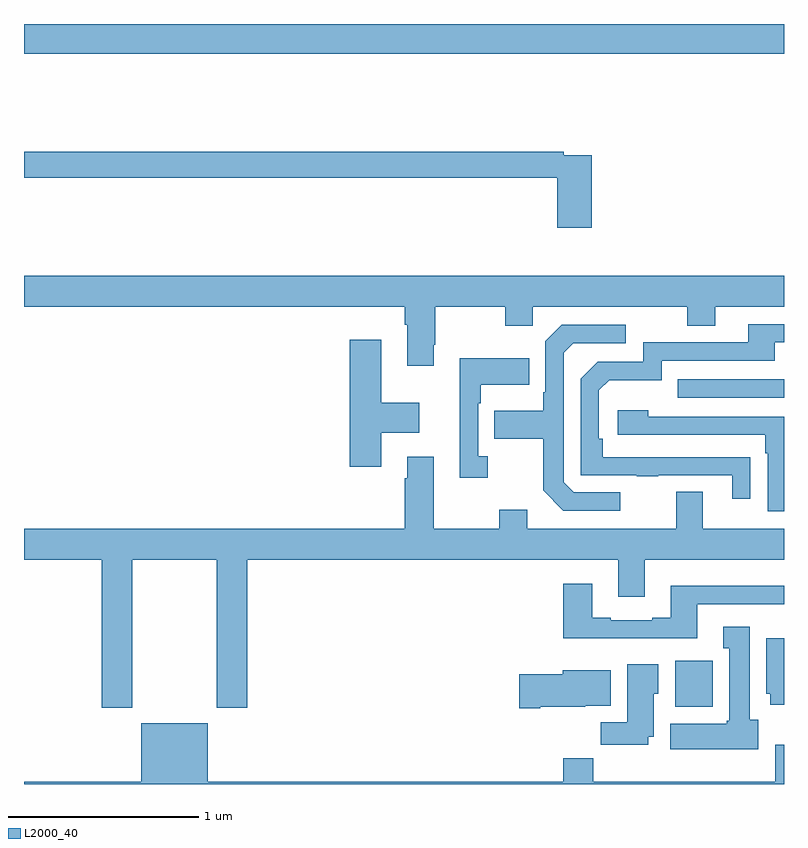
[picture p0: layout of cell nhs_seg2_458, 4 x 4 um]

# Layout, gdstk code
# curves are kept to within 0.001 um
import gdstk
lib = gdstk.Library(unit=1e-6, precision=1e-09)
def R(c, l, rs):  # rectangles x0, y0, x1, y1
    for r in rs: c.add(gdstk.rectangle(r[:2], r[2:], *l))
def P(c, l, *ps):  # polygons
    for p in ps: c.add(gdstk.Polygon(p, *l))
L2000_40 = (2000, 40)

nhs_seg2_458 = lib.new_cell('nhs_seg2_458')
R(nhs_seg2_458, L2000_40, [(136.427,636.206,136.624,636.448), (136.441,637.833,137,637.929), (133,639.644,137,639.8)])
P(nhs_seg2_458, L2000_40, [(135.989,639.108),(135.842,639.108),(135.842,639.128),(133,639.128),(133,638.992),(135.806,638.992),(135.806,638.727),(135.989,638.727)],
  [(135.157,638.113),(135.165,638.113),(135.165,638.312),(135.532,638.312),(135.532,638.213),(135.678,638.213),(135.678,638.312),(136.492,638.312),(136.492,638.213),(136.639,638.213),(136.639,638.312),(137,638.312),(137,638.476),(133,638.476),(133,638.312),(135.005,638.312),(135.005,638.216),(135.017,638.216),(135.017,638.001),(135.157,638.001)],
  [(136.823,637.52),(136.046,637.521),(136.046,637.618),(136.026,637.618),(136.026,637.872),(136.079,637.925),(136.356,637.925),(136.356,638.028),(136.951,638.028),(136.951,638.124),(137,638.124),(137,638.22),(136.811,638.22),(136.811,638.124),(136.26,638.124),(136.26,638.022),(136.02,638.022),(135.93,637.932),(135.93,637.425),(136.225,637.425),(136.225,637.42),(136.337,637.42),(136.337,637.425),(136.727,637.425),(136.727,637.302),(136.823,637.302)],
  [(136.138,637.335),(135.894,637.335),(135.84,637.389),(135.84,638.07),(135.891,638.121),(136.168,638.121),(136.168,638.217),(135.831,638.217),(135.744,638.13),(135.744,637.861),(135.732,637.861),(135.732,637.765),(135.475,637.765),(135.475,637.618),(135.732,637.618),(135.732,637.345),(135.837,637.239),(136.138,637.239)],
  [(134.881,637.649),(135.079,637.649),(135.079,637.807),(134.881,637.807),(134.881,638.137),(134.714,638.137),(134.714,637.47),(134.881,637.47)],
  [(135.442,637.526),(135.39,637.526),(135.39,637.805),(135.403,637.805),(135.403,637.901),(135.659,637.901),(135.659,638.041),(135.293,638.041),(135.293,637.413),(135.442,637.413)],
  [(137,637.734),(136.286,637.734),(136.286,637.768),(136.125,637.768),(136.125,637.638),(136.901,637.638),(136.901,637.541),(136.914,637.541),(136.914,637.236),(137,637.236)],
  [(133.569,636.98),(134.014,636.98),(134.014,636.201),(134.174,636.201),(134.174,636.98),(136.127,636.98),(136.127,636.786),(136.267,636.786),(136.267,636.98),(137,636.98),(137,637.144),(136.573,637.144),(136.573,637.339),(136.433,637.339),(136.433,637.144),(135.649,637.144),(135.649,637.243),(135.502,637.243),(135.502,637.144),(135.157,637.144),(135.157,637.522),(135.017,637.522),(135.017,637.409),(135.005,637.409),(135.005,637.144),(133,637.144),(133,636.98),(133.409,636.98),(133.409,636.201),(133.569,636.201)],
  [(136.543,636.747),(137,636.747),(137,636.844),(136.403,636.844),(136.403,636.676),(136.307,636.676),(136.307,636.663),(136.087,636.663),(136.087,636.676),(135.991,636.676),(135.991,636.853),(135.839,636.853),(135.839,636.566),(136.543,636.566)],
  [(136.864,636.138),(136.819,636.138),(136.819,636.628),(136.679,636.628),(136.679,636.515),(136.712,636.515),(136.712,636.132),(136.699,636.132),(136.699,636.118),(136.4,636.118),(136.4,635.984),(136.864,635.984)],
  [(137,636.568),(136.907,636.568),(136.907,636.276),(136.928,636.276),(136.928,636.216),(137,636.216)],
  [(136.285,636.05),(136.315,636.05),(136.315,636.276),(136.339,636.276),(136.339,636.43),(136.175,636.43),(136.175,636.124),(136.036,636.124),(136.036,636.006),(136.285,636.006)],
  [(135.718,636.206),(135.954,636.206),(135.954,636.212),(136.087,636.212),(136.087,636.4),(135.836,636.4),(135.836,636.377),(135.606,636.377),(135.606,636.199),(135.718,636.199)],
  [(135.839,635.936),(135.839,635.812),(133.966,635.812),(133.966,636.121),(133.616,636.121),(133.616,635.812),(133,635.812),(133,635.8),(137,635.8),(137,636.007),(136.955,636.007),(136.955,635.812),(135.995,635.812),(135.995,635.936)])

lib.write_gds('nhs_seg2_458.gds')
